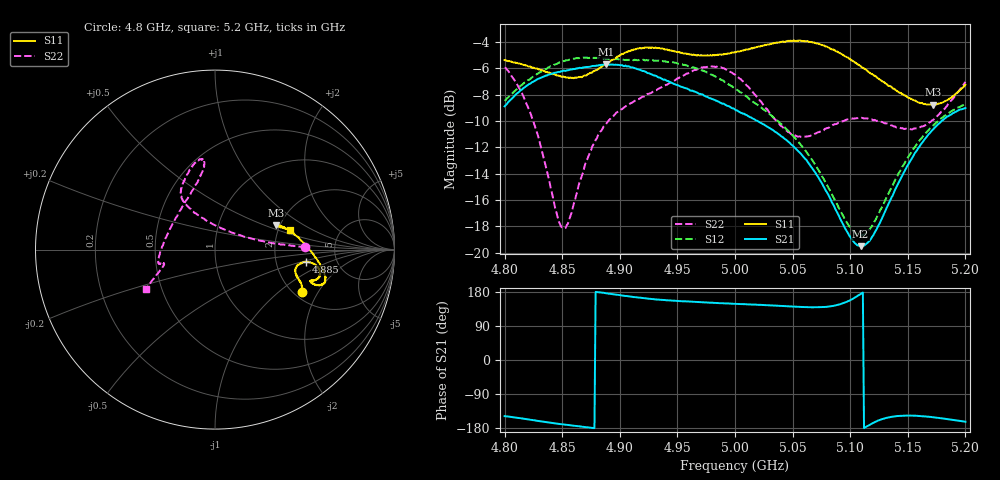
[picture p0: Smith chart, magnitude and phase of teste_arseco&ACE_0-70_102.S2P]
! Network Analyzer HP8722D
! Hewlett-Packard
! Data name: Linha & Wilkinson
! Saver's name: Rodrigo Anjos
! Comments: Teste da utilização de aquisição
! continua pelo VNA HP8722D
! Time and date: 8/5/2025 13:36
!  Frequency  S11  S21  S12  S22
# HZ  S  MA R 50
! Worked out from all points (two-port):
!   401 points, 4.8 GHz to 5.2 GHz, reference 50 ohm
!   highest |S21| = -5.70 dB at 4.888 GHz (marker M1); lowest = -19.5 dB at 5.109 GHz (marker M2)
!   |S21| within 3 dB of the highest: 4.802 GHz to 4.99 GHz (188.4 MHz wide, 3.85 % of centre)
!   lowest |S11| = -8.8 dB at 5.172 GHz (marker M3), VSWR 2.15, Z = 95.2 + j29.6 ohm
!   |S11| at or under -10 dB: nowhere
!   |S22| runs from -18.2 to -5.8 dB; largest |S21 - S12| = 1.1
!   S11 on the Smith chart (normalised r, x): 4.8 GHz: 2.22, -1.46; 4.885 GHz: 2.98, -0.55; 5.2 GHz: 2.33, +0.63
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4.8e9  0.5388 -25.7  0.3596 -148.2  0.377 11.4  0.5041 1.7
4.813e9  0.5225 -22.5  0.4096 -153.4  0.4261 9.3  0.4194 3.3
4.824e9  0.5039 -20.5  0.4445 -158.5  0.464 7.8  0.3227 6.3
4.849e9  0.4659 -16.2  0.4885 -169.3  0.5302 3.9  0.1256 56.0
4.855e9  0.4628 -14.4  0.4929 -171.6  0.5384 3.1  0.129 83.8
4.867e9  0.4639 -11.2  0.5029 -176.0  0.5494 1.3  0.1959 113.2
4.885e9  0.5116 -7.7  0.5164 177.6  0.5452 -0.1  0.2957 122.6
4.888e9  0.519 -7.6  0.5187 176.0  0.5451 -0.2  0.3078 122.8
4.912e9  0.5913 -10.6  0.5037 166.0  0.5379 0.3  0.3746 120.6
4.934e9  0.5988 -15.4  0.4626 159.2  0.5365 -0.7  0.4199 114.0
4.975e9  0.5609 -18.3  0.3913 152.0  0.4866 -4.5  0.5062 100.4
5e9  0.5775 -19.1  0.3496 148.2  0.4213 -4.7  0.4748 97.6
5.018e9  0.6021 -19.2  0.318 146.1  0.3678 -2.0  0.3955 103.9
5.044e9  0.6336 -17.3  0.2691 142.0  0.2965 3.5  0.2921 131.3
5.067e9  0.6295 -13.3  0.2096 139.3  0.2251 9.7  0.2798 164.4
5.098e9  0.5511 -3.0  0.1186 155.2  0.1282 36.1  0.3209 -170.3
5.109e9  0.5103 2.1  0.1058 174.0  0.1163 57.4  0.325 -167.0
5.118e9  0.4783 6.6  0.1128 -169.1  0.1245 75.3  0.3208 -165.5
5.134e9  0.4295 14.1  0.1554 -151.0  0.1703 94.7  0.3064 -165.5
5.154e9  0.3818 20.8  0.23 -147.1  0.2449 102.2  0.294 -164.1
5.172e9  0.3644 21.7  0.2938 -151.2  0.3043 103.2  0.3194 -160.1
5.2e9  0.4339 14.7  0.354 -162.8  0.3663 103.6  0.4448 -150.2
